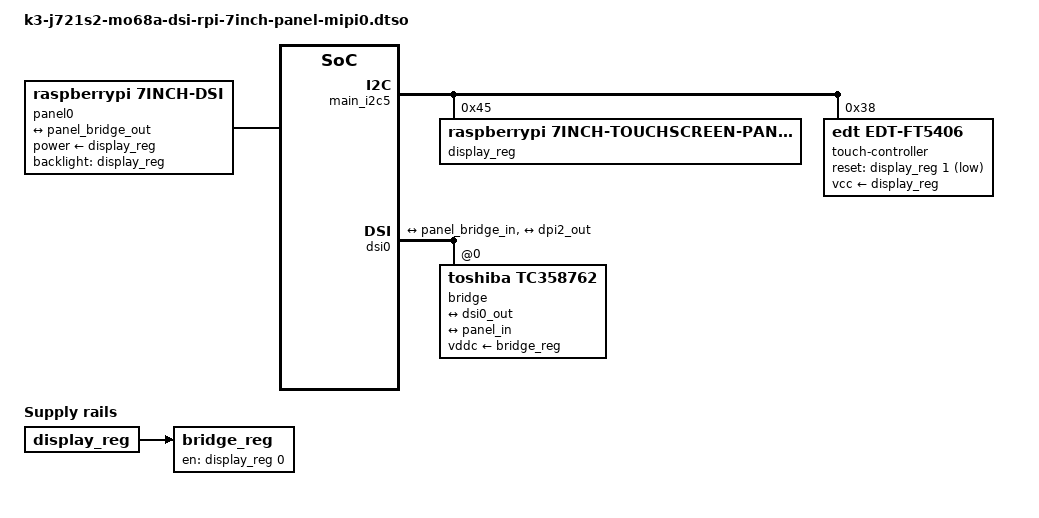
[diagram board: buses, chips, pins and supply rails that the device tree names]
// SPDX-License-Identifier: GPL-2.0-only OR MIT
/*
 * DT Overlay for RPi 7inch DSI touchscreen panel on Panda AI 1 MAX
 * Panel connected to J24 FPC (MIPI0 → DSI0 TX via TMUX6462ECR U3, SEL=LOW=0)
 *
 * Signal path:
 *   DSS VP2 → dpi2_out → dsi0_in → dsi0 TX (dphy_tx0) → MIPI0 mux U3 (SEL=0) → J24 FPC
 *   → TC358762 DSI-to-DPI bridge → RPi 7inch panel (800×480)
 * I2C: main_i2c5 (Y24=SCL, W23=SDA): panel regulator @0x45, FT5406 touch @0x38
 *
 * J24 (MIPI0) carries DSI0 signals (from dphy_tx0, the CDN DSI TX).
 * J25 (MIPI1) carries DSI1 signals (a separate physical path, not driven by dsi0).
 * Connect TC358762 + RPi panel to J24, NOT J25.
 *
 * What this overlay does:
 *   1. Disables the on-board SN65DSI86 eDP bridge (frees dsi0_out)
 *   2. Enables DSS VP2 → DSI0 connection (dpi2_out ↔ dsi0_in)
 *   3. Adds TC358762 DSI-to-DPI bridge as DSI0 client
 *   4. Redirects dsi0_out to TC358762 bridge input
 *   5. Adds RPi panel power regulator and FT5406 touch to main_i2c5
 *
 * MIPI0 mux (U3) default idle-state=0 (DSI0 mode, SEL=LOW) — no change needed.
 * dphy_tx0 and dsi0 are already enabled in the base board DTS.
 * DSS clocks for VP2→DSI are already assigned in base board DTS.
 *
 * Copyright (C) 2026 Beijing InHand Networks Technology Co., Ltd.
 */

/dts-v1/;
/plugin/;

#include <dt-bindings/gpio/gpio.h>

/* Bridge power regulator and panel nodes at root level */
&{/} {
	bridge_reg: bridge-regulator {
		compatible = "regulator-fixed";
		regulator-name = "bridge-reg";
		gpio = <&display_reg 0 0>;
		vin-supply = <&display_reg>;
		enable-active-high;
	};

	panel0 {
		compatible = "raspberrypi,7inch-dsi", "simple-panel";
		backlight = <&display_reg>;
		power-supply = <&display_reg>;
		port {
			panel_in: endpoint {
				remote-endpoint = <&panel_bridge_out>;
			};
		};
	};
};

/* Disable on-board SN65DSI86 eDP bridge to free the DSI TX output */
&dsi_edp_bridge {
	status = "disabled";
};

/* main_i2c5 (Y24=SCL, W23=SDA): RPi panel power reg + FT5406 touch on J24 FPC */
&main_i2c5 {
	#address-cells = <1>;
	#size-cells = <0>;

	display_reg: regulator@45 {
		compatible = "raspberrypi,7inch-touchscreen-panel-regulator";
		reg = <0x45>;
		gpio-controller;
		#gpio-cells = <2>;
	};

	touch-controller@38 {
		compatible = "edt,edt-ft5406";
		reg = <0x38>;
		touchscreen-size-x = <800>;
		touchscreen-size-y = <480>;
		vcc-supply = <&display_reg>;
		reset-gpios = <&display_reg 1 1>;
		touchscreen-inverted-x;
		touchscreen-inverted-y;
	};
};

/* Enable DSS VP2 → DSI0 input link (port@2 was status="disabled" in base DTS) */
&dss_ports {
	#address-cells = <1>;
	#size-cells = <0>;

	port@2 {
		reg = <2>;
		status = "okay";
		dpi2_out: endpoint {
			remote-endpoint = <&dsi0_in>;
		};
	};
};

/*
 * DSI0: reroute port@0 output from SN65DSI86 to TC358762, and connect
 * port@1 input from DSS VP2. TC358762 bridge converts DSI to parallel RGB
 * for the RPi 7inch panel.
 */
&dsi0 {
	status = "okay";
	#address-cells = <1>;
	#size-cells = <0>;

	ports {
		#address-cells = <1>;
		#size-cells = <0>;

		port@0 {
			reg = <0>;
			dsi0_out: endpoint {
				remote-endpoint = <&panel_bridge_in>;
			};
		};

		port@1 {
			reg = <1>;
			dsi0_in: endpoint {
				remote-endpoint = <&dpi2_out>;
			};
		};
	};

	bridge@0 {
		compatible = "toshiba,tc358762";
		reg = <0>;
		vddc-supply = <&bridge_reg>;
		ports {
			#address-cells = <1>;
			#size-cells = <0>;

			port@0 {
				reg = <0>;
				panel_bridge_in: endpoint {
					remote-endpoint = <&dsi0_out>;
				};
			};

			port@1 {
				reg = <1>;
				panel_bridge_out: endpoint {
					remote-endpoint = <&panel_in>;
				};
			};
		};
	};
};
